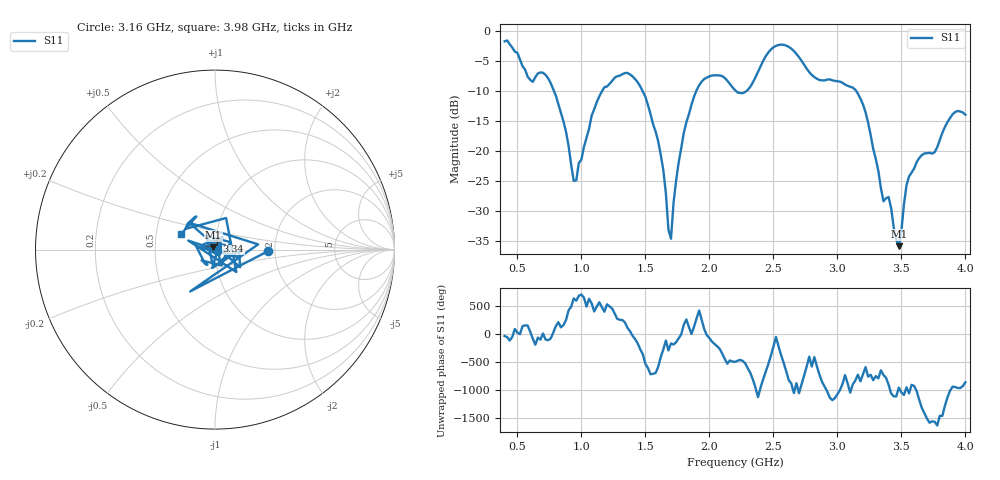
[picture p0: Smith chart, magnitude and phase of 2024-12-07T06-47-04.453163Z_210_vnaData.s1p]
!Created with skrf (http://scikit-rf.org).
# Hz S RI R 50.0
!freq ReS11 ImS11
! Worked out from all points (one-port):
!   181 points, 400 MHz to 4 GHz, reference 50 ohm
!   lowest |S11| = -35.9 dB at 3.48 GHz (marker M1), VSWR 1.03, Z = 49 + j1.24 ohm
!   |S11| at or under -10 dB: 784.2 MHz to 1.164 GHz (379.6 MHz wide, 39 % of centre); 1.476 GHz to 1.899 GHz (422.7 MHz wide, 25 % of centre); 3.144 GHz to end of sweep (the widest 3 of 4)
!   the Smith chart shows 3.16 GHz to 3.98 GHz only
!   S11 on the Smith chart (normalised r, x): 3.16 GHz: 1.85, -0.03; 3.34 GHz: 1.02, +0.10; 3.98 GHz: 0.67, +0.12
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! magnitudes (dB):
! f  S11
! 400 MHz  -1.8
! 600 MHz  -8.2
! 740 MHz  -7.9
! 860 MHz  -15.2
! 940 MHz  -25.1
! 960 MHz  -25.0
! 1.12 GHz  -11.9
! 1.3 GHz  -7.5
! 1.5 GHz  -11.0
! 1.62 GHz  -20.7
! 1.7 GHz  -34.7
! 1.76 GHz  -22.0
! 1.82 GHz  -15.3
! 1.94 GHz  -8.5
! 2.2 GHz  -9.9
! 2.3 GHz  -9.9
! 2.5 GHz  -2.8
! 2.66 GHz  -3.4
! 2.84 GHz  -8.0
! 3.1 GHz  -9.4
! 3.16 GHz  -10.5
! 3.24 GHz  -15.3
! 3.34 GHz  -26.3
! 3.4 GHz  -27.7
! 3.48 GHz  -35.9
! 3.56 GHz  -24.3
! 3.98 GHz  -13.6
! 4 GHz  -14.0
